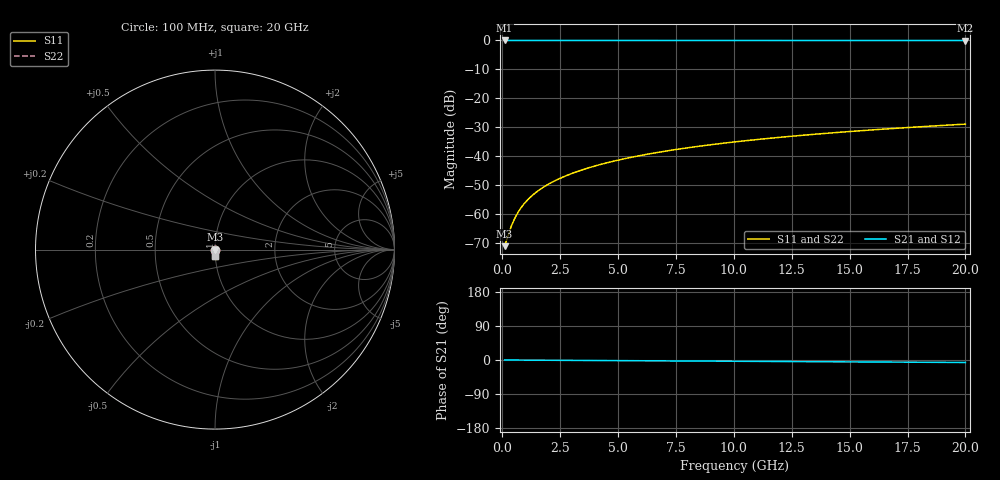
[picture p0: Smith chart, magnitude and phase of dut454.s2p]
! Touchstone file exported from HFSS 2026.1.0
!  File:  C:/ffzhzh/LocalFiles/Ansys_Project_Files/temp_train_TSV_454_1783021772_53980.aedt
!  Generated:  03:51:17 AM Jul  3, 2026
!  Design:  TSV
!  Project:  temp_train_TSV_454_1783021772_53980
! Variables:
!  h_bsmrdl = 2um
!  h_ox = 20um
!  h_rdl = 5um
!  h_sub = 66.96um
!  h_tmrdl = 5um
!  h_tsv = 66.96um
!  h_via = 3um
!  l_bsmrdl = 300um
!  l_sub = 412.34um
!  l_tmrdl = 200um
!  m_sub = 200um
!  pitch = 18.71um
!  r_tsv = 6.17um
!  s_tmrdl = 10um
!  w_bsmrdl = 18um
!  w_sub = 500um
!  w_tmrdl = 12um
!  x_tsv_center1 = 206um
!  x_tsv_center2 = 524um
!  x_tsv_center3 = 736um
!  x_tsv_center4 = 1054um
!  x_tsv_center5 = 1266um
!  x_tsv_center6 = 1584um
# GHz S MA R 50.000000
! Terminal data exported
! Port[1] = TSV1_1_T1
! Port[2] = TSV1_1_T2
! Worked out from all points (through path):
!   200 points, 100 MHz to 20 GHz, reference 50 ohm
!   highest |S21| = 0.00 dB at 100 MHz (marker M1); lowest = 0.0 dB at 20 GHz (marker M2)
!   lowest |S11| = -71.2 dB at 100 MHz (marker M3), VSWR 1.00, Z = 50 - j0.0119 ohm
!   |S11| at or under -10 dB: start of sweep to end of sweep
!   |S22| runs from -71.2 to -29.0 dB; largest |S21 - S12| = 3.2e-15
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0.1  0.0002758 -25.5  0.9998 -0.0  0.9998 -0.0  0.0002758 -25.5
! Gamma 0 0 0 0
! Port Impedance 50 0 50 0
0.3  0.0004851 -52.0  0.9997 -0.1  0.9997 -0.1  0.0004851 -52.0
0.4  0.0006242 -58.1  0.9997 -0.1  0.9997 -0.1  0.0006242 -58.1
0.5  0.0007746 -62.4  0.9996 -0.2  0.9996 -0.2  0.0007746 -62.4
0.6  0.000932 -65.7  0.9996 -0.2  0.9996 -0.2  0.000932 -65.7
0.7  0.001094 -68.2  0.9996 -0.2  0.9996 -0.2  0.001094 -68.2
0.9  0.001423 -71.9  0.9995 -0.3  0.9995 -0.3  0.001423 -71.9
1.2  0.001924 -75.6  0.9995 -0.4  0.9995 -0.4  0.001924 -75.6
1.4  0.00226 -77.3  0.9995 -0.5  0.9995 -0.5  0.00226 -77.3
1.6  0.002597 -78.5  0.9995 -0.5  0.9995 -0.5  0.002597 -78.5
2.1  0.003443 -80.8  0.9994 -0.7  0.9994 -0.7  0.003443 -80.8
2.7  0.004468 -82.4  0.9993 -0.9  0.9993 -0.9  0.004468 -82.4
3.5  0.005852 -83.8  0.9992 -1.2  0.9992 -1.2  0.005852 -83.8
4.2  0.007079 -84.6  0.9991 -1.4  0.9991 -1.4  0.007079 -84.6
5  0.008495 -85.5  0.999 -1.7  0.999 -1.7  0.008495 -85.5
5.9  0.0101 -86.2  0.9989 -2.0  0.9989 -2.0  0.0101 -86.2
6.8  0.01172 -86.9  0.9988 -2.3  0.9988 -2.3  0.01172 -86.9
8.3  0.01442 -88.0  0.9987 -2.8  0.9987 -2.8  0.01442 -88.0
10.1  0.01768 -89.0  0.9985 -3.3  0.9985 -3.3  0.01768 -89.0
13.4  0.02366 -90.7  0.9982 -4.4  0.9982 -4.4  0.02366 -90.7
16.7  0.02966 -92.2  0.9979 -5.5  0.9979 -5.5  0.02966 -92.2
20  0.03567 -93.5  0.9975 -6.6  0.9975 -6.6  0.03567 -93.5
